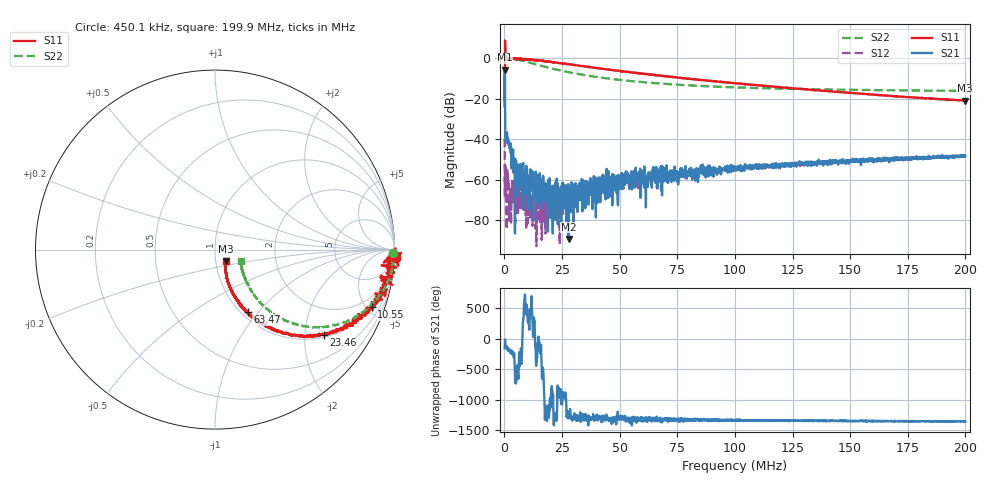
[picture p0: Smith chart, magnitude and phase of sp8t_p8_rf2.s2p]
! 26-Feb-26 1:10:15 PM
! E:\VNA_MEASUREMENTS\SP8T\SP8T_P8_RF2.S2P
! CHANNEL.1
! TR.MEASUREMENT
! CORRECTED.DATA
# GHZ S RI R 50.0
! FREQ.GHZ  S11RE  S11IM  S21RE  S21IM  S12RE  S12IM  S22RE  S22IM
!; PortSelection: Port_12
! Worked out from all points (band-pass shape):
!   2000 points, 50 kHz to 200 MHz, reference 50 ohm
!   highest |S21| = -5.59 dB at 150 kHz (marker M1); lowest = -89.4 dB at 27.86 MHz (marker M2)
!   |S21| within 3 dB of the highest: 133.5 kHz to 167.1 kHz (33.55 kHz wide, 22.3 % of centre)
!   lowest |S11| = -20.9 dB at 199.8 MHz (marker M3), VSWR 1.20, Z = 56.1 - j7.35 ohm
!   |S11| at or under -10 dB: 57.5 kHz to 186.7 kHz (129.2 kHz wide, 106 % of centre); 78.72504 MHz to 79.03231 MHz (307.3 kHz wide, 0.39 % of centre); 79.09 MHz to end of sweep
!   |S22| runs from -16.2 to 0.1 dB; largest |S21 - S12| = 0.52
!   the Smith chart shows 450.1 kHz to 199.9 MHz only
!   S11 on the Smith chart (normalised r, x): 450.1 kHz: -8, -42; 10.55 MHz: 1.14, -5.39; 23.46 MHz: 1.07, -2.50; 63.47 MHz: 1.07, -0.88; 199.9 MHz: 1.12, -0.15
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5e-05  -0.3152 -0.1525  -0.0603 -0.024  0.00769 -0.00688  1.015 -0.0204
0.000150025  -0.017 0.0884  -0.3201 -0.4164  -0.000212 -0.000284  1.013 -0.0068
0.0004501  1.008 -0.0466  -0.00273 -0.0126  0.000126 -0.000487  0.9923 -0.0171
0.001350325  0.9752 -0.0681  -0.00794 -0.0021  0.000967 -0.00038  0.987 -0.0869
0.004851201  0.9211 -0.1537  -0.000428 0.00163  -0.000145 0.000471  0.8998 -0.2777
0.008852201  0.8967 -0.2606  0.000907 5.88e-05  7.09e-05 -0.000166  0.7386 -0.3965
0.01055263  0.8728 -0.3203  -0.000325 -0.000324  -0.000326 4.51e-05  0.67 -0.4223
0.01775443  0.7187 -0.4333  -0.000638 -0.000511  -3.57e-05 2.95e-05  0.451 -0.4161
0.0208552  0.6565 -0.4548  -7.17e-05 0.000312  -0.000143 0.000123  0.3884 -0.3949
0.02345585  0.6078 -0.4746  -0.000263 9e-06  -0.000204 0.000175  0.3504 -0.3727
0.02785695  0.5257 -0.4831  -2.56e-05 -2.2e-05  -0.000331 9.03e-05  0.2997 -0.3391
0.03345835  0.4346 -0.4742  -0.000286 0.000147  -0.000416 0.000271  0.2571 -0.3004
0.04196048  0.3264 -0.4493  0.000144 0.000434  -0.000475 0.00043  0.2174 -0.2519
0.04946236  0.2639 -0.4136  -0.000364 0.000829  -0.000503 0.000472  0.1966 -0.22
0.06346586  0.1817 -0.3461  -0.000706 0.00096  -0.000738 0.000646  0.1744 -0.176
0.06676668  0.1664 -0.3384  -0.000462 0.00124  -0.000636 0.00115  0.1711 -0.1678
0.100075  0.0901 -0.2262  -0.00053 0.00196  -0.000348 0.00176  0.1528 -0.1165
0.1333833  0.0647 -0.1523  -7.1e-06 0.00227  -0.000243 0.00266  0.1466 -0.0895
0.1666917  0.0595 -0.1023  0.000347 0.00321  0.00019 0.00314  0.1441 -0.0738
0.1998  0.0618 -0.065  0.00065 0.00369  0.00048 0.00365  0.1431 -0.0621
0.1999  0.0621 -0.065  0.00048 0.00373  0.000721 0.00371  0.1426 -0.0622
0.2  0.0622 -0.0649  0.000592 0.00384  0.000622 0.00363  0.1427 -0.0623
